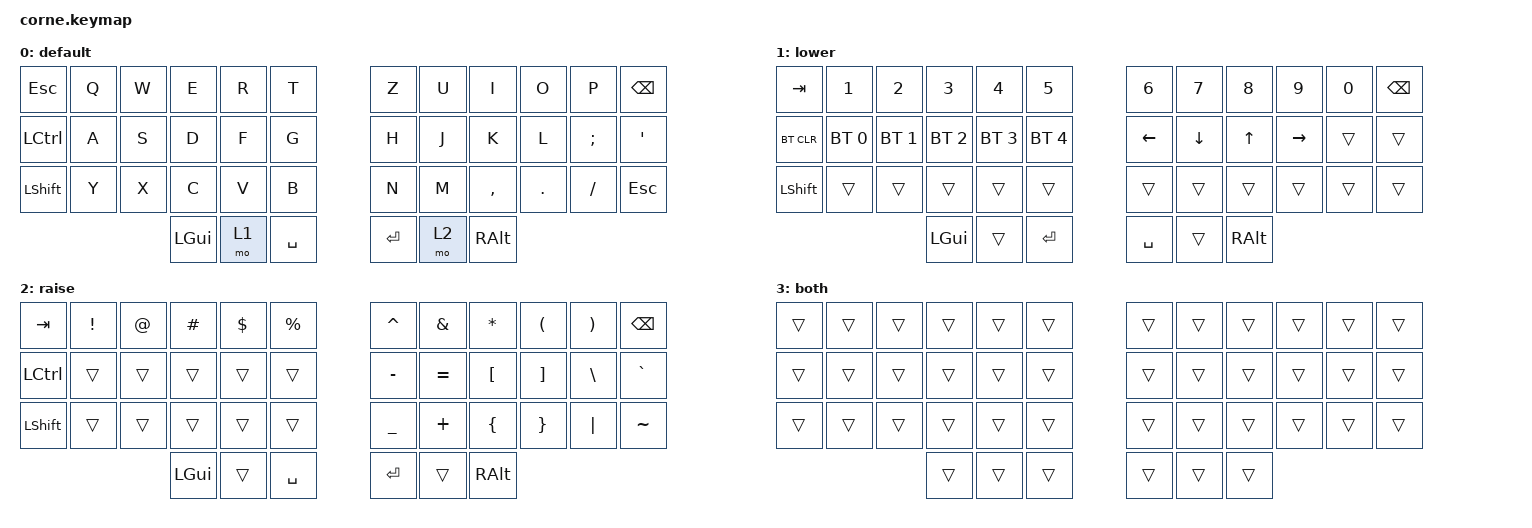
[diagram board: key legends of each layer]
/*
 * Copyright (c) 2020 The ZMK Contributors
 *
 * SPDX-License-Identifier: MIT
 */

#include <behaviors.dtsi>
#include <dt-bindings/zmk/bt.h>
#include <dt-bindings/zmk/keys.h>

/ {
    combos {
        compatible = "zmk,combos";

        delete {
            bindings = <&kp DEL>;
            key-positions = <10 11>;
        };
    };

    behaviors {
        as_ht: autoshift_hold_tap {
            compatible = "zmk,behavior-hold-tap";
            label = "Autoshift_Hold_Tap";
            bindings = <&kp>, <&kp>;

            #binding-cells = <2>;
            tapping-term-ms = <190>;
        };
    };

    keymap {
        compatible = "zmk,keymap";

        default {
            // -----------------------------------------------------------------------------------------
            // |  TAB |  Q  |  W  |  E  |  R  |  T  |   |  Y  |  U   |  I  |  O  |  P  | BKSP |
            // | CTRL |  A  |  S  |  D  |  F  |  G  |   |  H  |  J   |  K  |  L  |  ;  |  '   |
            // | SHFT |  Z  |  X  |  C  |  V  |  B  |   |  N  |  M   |  ,  |  .  |  /  | ESC  |
            //                    | GUI | LWR | SPC |   | ENT | RSE  | ALT |

            bindings = <
&kp ESCAPE  &kp Q  &kp W  &kp E     &kp R  &kp T        &kp Z    &kp U  &kp I      &kp O    &kp P     &kp BSPC
&kp LCTRL   &kp A  &kp S  &kp D     &kp F  &kp G        &kp H    &kp J  &kp K      &kp L    &kp SEMI  &kp SQT
&kp LSHFT   &kp Y  &kp X  &kp C     &kp V  &kp B        &kp N    &kp M  &kp COMMA  &kp DOT  &kp FSLH  &kp ESC
                          &kp LGUI  &mo 1  &kp SPACE    &kp RET  &mo 2  &kp RALT
            >;
        };

        lower {
            // -----------------------------------------------------------------------------------------
            // |  TAB |  1  |  2  |  3  |  4  |  5  |   |  6  |  7  |  8  |  9  |  0  | BKSP |
            // | BTCLR| BT1 | BT2 | BT3 | BT4 | BT5 |   | LFT | DWN |  UP | RGT |     |      |
            // | SHFT |     |     |     |     |     |   |     |     |     |     |     |      |
            //                    | GUI |     | SPC |   | ENT |     | ALT |

            bindings = <
&kp TAB     &kp N1        &kp N2        &kp N3        &kp N4        &kp N5          &kp N6     &kp N7    &kp N8    &kp N9     &kp N0  &kp BSPC
&bt BT_CLR  &bt BT_SEL 0  &bt BT_SEL 1  &bt BT_SEL 2  &bt BT_SEL 3  &bt BT_SEL 4    &kp LEFT   &kp DOWN  &kp UP    &kp RIGHT  &trans  &trans
&kp LSHFT   &trans        &trans        &trans        &trans        &trans          &trans     &trans    &trans    &trans     &trans  &trans
                                        &kp LGUI      &trans        &kp RET         &kp SPACE  &trans    &kp RALT
            >;
        };

        raise {
            // -----------------------------------------------------------------------------------------
            // |  TAB |  !  |  @  |  #  |  $  |  %  |   |  ^  |  &  |  *  |  (  |  )  | BKSP |
            // | CTRL |     |     |     |     |     |   |  -  |  =  |  [  |  ]  |  \  |  `   |
            // | SHFT |     |     |     |     |     |   |  _  |  +  |  {  |  }  | "|" |  ~   |
            //                    | GUI |     | SPC |   | ENT |     | ALT |

            bindings = <
&kp TAB    &kp EXCL  &kp AT  &kp HASH  &kp DLLR  &kp PRCNT    &kp CARET  &kp AMPS   &kp ASTRK  &kp LPAR  &kp RPAR  &kp BSPC
&kp LCTRL  &trans    &trans  &trans    &trans    &trans       &kp MINUS  &kp EQUAL  &kp LBKT   &kp RBKT  &kp BSLH  &kp GRAVE
&kp LSHFT  &trans    &trans  &trans    &trans    &trans       &kp UNDER  &kp PLUS   &kp LBRC   &kp RBRC  &kp PIPE  &kp TILDE
                             &kp LGUI  &trans    &kp SPACE    &kp RET    &trans     &kp RALT
            >;
        };

        both {
            bindings = <
&trans  &trans  &trans  &trans  &trans  &trans    &trans  &trans  &trans  &trans  &trans  &trans
&trans  &trans  &trans  &trans  &trans  &trans    &trans  &trans  &trans  &trans  &trans  &trans
&trans  &trans  &trans  &trans  &trans  &trans    &trans  &trans  &trans  &trans  &trans  &trans
                        &trans  &trans  &trans    &trans  &trans  &trans
            >;
        };
    };

    conditional_layers {
        compatible = "zmk,conditional-layers";

        tri_layer {
            if-layers = <1 2>;
            then-layer = <3>;
        };
    };
};
